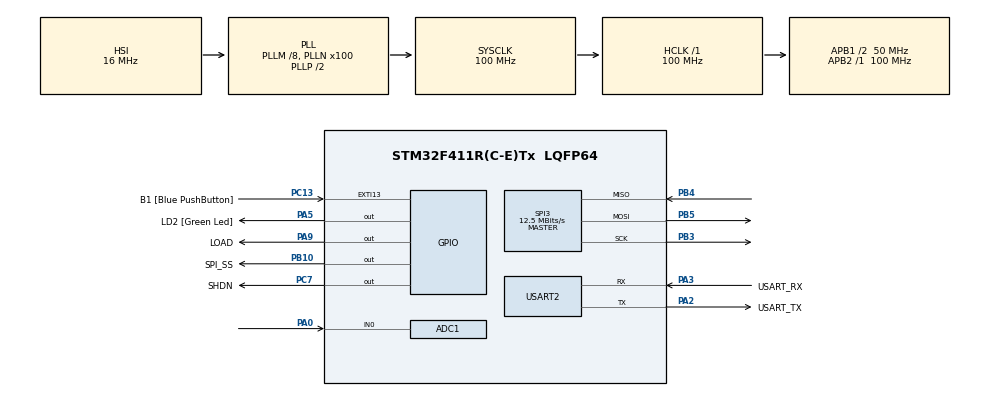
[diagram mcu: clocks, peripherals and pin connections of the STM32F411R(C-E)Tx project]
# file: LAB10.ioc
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Mcu.Family=STM32F4
PB10.PinState=GPIO_PIN_SET
VP_TIM5_VS_ClockSourceINT.Mode=Internal
RCC.CortexFreq_Value=100000000
SPI3.Direction=SPI_DIRECTION_2LINES
SPI3.VirtualType=VM_MASTER
ADC1.ContinuousConvMode=DISABLE
PA14.GPIO_Label=TCK
RCC.SYSCLKSource=RCC_SYSCLKSOURCE_PLLCLK
ProjectManager.StackSize=0x400
NVIC.ADC_IRQn=true\:0\:0\:false\:false\:true\:true\:true
PH0\ -\ OSC_IN.Signal=RCC_OSC_IN
NVIC.TIM5_IRQn=true\:0\:0\:false\:false\:true\:true\:true
RCC.HCLKFreq_Value=100000000
RCC.APB2TimFreq_Value=100000000
TIM3.Period=100
Dma.ADC1.0.Direction=DMA_PERIPH_TO_MEMORY
PC7.Signal=GPIO_Output
NVIC.DMA2_Stream0_IRQn=true\:0\:0\:false\:false\:true\:false\:true
Dma.ADC1.0.MemDataAlignment=DMA_MDATAALIGN_HALFWORD
RCC.AHBFreq_Value=100000000
SPI3.DataSize=SPI_DATASIZE_16BIT
ADC1.Channel-0\#ChannelRegularConversion=ADC_CHANNEL_0
RCC.HSE_VALUE=8000000
PB3.Mode=Full_Duplex_Master
ADC1.ScanConvMode=ENABLE
PC13-ANTI_TAMP.Signal=GPXTI13
PB4.Mode=Full_Duplex_Master
PC14-OSC32_IN.Mode=LSE-External-Oscillator
PA14.Mode=Serial_Wire
TIM3.Prescaler=99
Dma.ADC1.0.PeriphInc=DMA_PINC_DISABLE
PB5.Mode=Full_Duplex_Master
PC7.PinState=GPIO_PIN_SET
SH.ADCx_IN0.0=ADC1_IN0,IN0
ADC1.SamplingTime-0\#ChannelRegularConversion=ADC_SAMPLETIME_3CYCLES
RCC.FLatency-AdvancedSettings=FLASH_LATENCY_3
Mcu.Package=LQFP64
SPI3.Mode=SPI_MODE_MASTER
USART2.VirtualMode=VM_ASYNC
PA2.GPIO_Label=USART_TX
NVIC.SPI3_IRQn=true\:0\:0\:false\:false\:true\:true\:true
RCC.APB1TimFreq_Value=100000000
Dma.ADC1.0.FIFOMode=DMA_FIFOMODE_DISABLE
Dma.Request0=ADC1
ADC1.EOCSelection=ADC_EOC_SEQ_CONV
VP_TIM3_VS_ClockSourceINT.Mode=Internal
PB4.Signal=SPI3_MISO
PA3.Signal=USART2_RX
PC15-OSC32_OUT.Mode=LSE-External-Oscillator
Dma.ADC1.0.Instance=DMA2_Stream0
ADC1.Rank-0\#ChannelRegularConversion=1
PC13-ANTI_TAMP.GPIO_Label=B1 [Blue PushButton]
PA9.GPIO_Label=LOAD
PH1\ -\ OSC_OUT.Mode=HSE-External-Clock-Source
ADC1.DiscontinuousConvMode=DISABLE
RCC.APB1CLKDivider=RCC_HCLK_DIV2
PC14-OSC32_IN.Signal=RCC_OSC32_IN
NVIC.USART2_IRQn=true\:0\:0\:false\:false\:true\:true\:true
PA0-WKUP.Signal=ADCx_IN0
PA13.Signal=SYS_JTMS-SWDIO
PA3.Mode=Asynchronous
Dma.ADC1.0.PeriphDataAlignment=DMA_PDATAALIGN_HALFWORD
PH0\ -\ OSC_IN.Mode=HSE-External-Clock-Source
ProjectManager.TargetToolchain=STM32CubeIDE
PB10.GPIO_Label=SPI_SS
Dma.ADC1.0.Mode=DMA_CIRCULAR
Dma.ADC1.0.Priority=DMA_PRIORITY_LOW
PA9.Signal=GPIO_Output
PA9.PinState=GPIO_PIN_SET
PC15-OSC32_OUT.Signal=RCC_OSC32_OUT
PB10.Signal=GPIO_Output
PA5.Signal=GPIO_Output
PH1\ -\ OSC_OUT.Signal=RCC_OSC_OUT
board=NUCLEO-F411RE
RCC.VCOOutputFreq_Value=200000000
RCC.APB2Freq_Value=100000000
SPI3.CalculateBaudRate=12.5 MBits/s
SPI3.BaudRatePrescaler=SPI_BAUDRATEPRESCALER_4
ADC1.DMAContinuousRequests=ENABLE
PA13.Mode=Serial_Wire
Mcu.Name=STM32F411R(C-E)Tx
PA2.Signal=USART2_TX
PA13.GPIO_Label=TMS
ADC1.ExternalTrigConv=ADC_EXTERNALTRIGCONV_T3_TRGO
PC7.GPIO_Label=SHDN
RCC.48MHZClocksFreq_Value=50000000
PB3.Signal=SPI3_SCK
RCC.SYSCLKFreq_VALUE=100000000
PB5.Signal=SPI3_MOSI
ADC1.master=1
PA5.GPIO_Label=LD2 [Green Led]
TIM5.Prescaler=99
PC13-ANTI_TAMP.GPIO_ModeDefaultEXTI=GPIO_MODE_IT_FALLING
PA14.Signal=SYS_JTCK-SWCLK
Dma.ADC1.0.MemInc=DMA_MINC_ENABLE
ProjectManager.HeapSize=0x200
RCC.HSI_VALUE=16000000
NVIC.PriorityGroup=NVIC_PRIORITYGROUP_0
ADC1.NbrOfConversionFlag=1
RCC.PLLM=8
RCC.PLLN=100
PA2.Mode=Asynchronous
TIM3.TIM_MasterOutputTrigger=TIM_TRGO_UPDATE
RCC.APB1Freq_Value=50000000
PA3.GPIO_Label=USART_RX

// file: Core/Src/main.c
/* USER CODE BEGIN Header */
/**
 ******************************************************************************
 * @file           : main.c
 * @brief          : Main program body
 ******************************************************************************
 * @attention
 *
 * <h2><center>&copy; Copyright (c) 2021 STMicroelectronics.
 * All rights reserved.</center></h2>
 *
 * This software component is licensed by ST under BSD 3-Clause license,
 * the "License"; You may not use this file except in compliance with the
 * License. You may obtain a copy of the License at:
 *                        opensource.org/licenses/BSD-3-Clause
 *
 ******************************************************************************
 */
/* USER CODE END Header */
#include "main.h"

/* USER CODE BEGIN Includes */
#include <math.h>
#include <stdio.h>
#include <string.h>
/* USER CODE END Includes */

ADC_HandleTypeDef hadc1;
DMA_HandleTypeDef hdma_adc1;

SPI_HandleTypeDef hspi3;

TIM_HandleTypeDef htim3;
TIM_HandleTypeDef htim5;

UART_HandleTypeDef huart2;

/* USER CODE BEGIN PV */
typedef enum {
	START,WAIT,SELECTMODE,SELECTMODE_WAIT,SAWTOOTH,SINE_WAVE,SQUARE_WAVE,FREQUENCY_UP,FREQUENCY_DOWN
}
MODE;
char TxDataBuffer[32] =
{ 0 };
char RxDataBuffer[32] =
{ 0 };

char state = START;
char wave = SAWTOOTH;

char error[] = "Wrong Input\r\n\r\n";
int Input = 0;
int firsttime = 0;
int Working = 1;
int frequency = 50;
int duty = 50;

int LowVolt = 0;
int HighVolt = 33;

int16_t inputchar = -1;
int16_t lastinputchar = -1;

uint64_t timepass = 0;
uint64_t timestamp = 0;
uint64_t _micros = 0;

GPIO_PinState User_Button[2];

double counter = 0;
uint16_t slope = 0;

uint16_t ADCin = 0;
uint64_t _micro = 0;
uint16_t dataOut = 0;
	uint8_t DACConfig = 0b0011;
/* USER CODE END PV */

void SystemClock_Config(void);
static void MX_GPIO_Init(void);
static void MX_DMA_Init(void);
static void MX_USART2_UART_Init(void);
static void MX_SPI3_Init(void);
static void MX_ADC1_Init(void);
static void MX_TIM3_Init(void);
static void MX_TIM5_Init(void);
/* USER CODE BEGIN PFP */
int16_t UARTRecieveIT();
void MCP4922SetOutput(uint8_t Config, uint16_t DACOutput);
uint64_t micros();
/* USER CODE END PFP */

int main(void)
{

  /* MCU Configuration--------------------------------------------------------*/

  /* Reset of all peripherals, Initializes the Flash interface and the Systick. */
  HAL_Init();

  /* Configure the system clock */
  SystemClock_Config();

  /* Initialize all configured peripherals */
  MX_GPIO_Init();
  MX_DMA_Init();
  MX_USART2_UART_Init();
  MX_SPI3_Init();
  MX_ADC1_Init();
  MX_TIM3_Init();
  MX_TIM5_Init();
  /* USER CODE BEGIN 2 */
	HAL_TIM_Base_Start(&htim3);
	HAL_TIM_Base_Start_IT(&htim5);
	HAL_ADC_Start_DMA(&hadc1, (uint32_t*) &ADCin, 1);

	HAL_GPIO_WritePin(LOAD_GPIO_Port, LOAD_Pin, GPIO_PIN_RESET);
	{
		char temp[]="NOW LOADING... \r\nLAB10 is now operating \r\n\r\n";
		HAL_UART_Transmit(&huart2, (uint8_t*)temp, strlen(temp),1000);
	}
  /* USER CODE END 2 */

  /* Infinite loop */
  /* USER CODE BEGIN WHILE */
	while (1)
	{
		static uint64_t timestamp = 0;
		if (micros() - timestamp >= 100) //100
		{
			timepass = micros() - timestamp;
			timestamp = micros();
			if(timepass > 0 && timepass < 1000)
			{
				counter += (timepass/100.0)*(frequency/10.0)*(4096.0/10000.0);
			}

			if(counter > 4096.0)
			{
				counter += -4096.0;
			}
			switch(wave)
			{
				case SAWTOOTH:
				{
					if(slope)
					{
						dataOut = (LowVolt + (counter*(HighVolt-LowVolt)/4096.0))*4096.0/33.0;
					}
					else
					{
						dataOut = (HighVolt - (counter*(HighVolt-LowVolt)/4096.0))*4096.0/33.0;
					}
				}
				break;
				case SINE_WAVE:
				{
					dataOut = ((HighVolt - LowVolt)*4096.0/66.0)*(sin(2*M_PI*counter/4096.0)+1.0) + (LowVolt*4096.0/33.0);
				}
				break;
				case SQUARE_WAVE:
				{
					if(duty*4096.0/100.0 >= counter)
					{
						dataOut = HighVolt*4096.0/33.0;
						if(HighVolt == 33)
						{
							dataOut = 4095;
						}
					}
					else
					{
						dataOut = LowVolt*4096.0/33.0;
					}
				}
				break;
			}
			if (hspi3.State == HAL_SPI_STATE_READY
					&& HAL_GPIO_ReadPin(SPI_SS_GPIO_Port, SPI_SS_Pin)
							== GPIO_PIN_SET)
			{
				MCP4922SetOutput(DACConfig, dataOut);
			}
		}

		char Frequencyline[] = "Frequency is";
		char Dutyline[] = "Duty is";
		char HighVoltline[] = "High Volt is";
		char LowVoltline[] = "Low Volt is";
		HAL_UART_Receive_IT(&huart2,  (uint8_t*)RxDataBuffer, 32);

		int16_t inputchar = UARTRecieveIT();
		if(inputchar!= -1)
		{
			//sprintf(TxDataBuffer, "ReceivedChar:[%c]\r\n\r\n", inputchar);
			HAL_UART_Transmit(&huart2, (uint8_t*)TxDataBuffer, strlen(TxDataBuffer), 1000);
			Input = 1;
		}
		else
		{
			Input = 0;
		}

		switch(state)
		{
			case START: //0 start
			{
				char temp[] = " 1. Select Mode \r\n 2. Increase Frequency \r\n 3. Decrease Frequency \r\n 4. Increase High Volt \r\n 5. Decrease High Volt \r\n 6. Increase Low Volt \r\n 7. Decrease Low Volt \r\n\r\n";
				HAL_UART_Transmit(&huart2, (uint8_t*)temp, strlen(temp),1000);
				state = WAIT;
			}
			break;
			case WAIT:
			{
				switch(inputchar)
				{
					case '1':
					{
						state = SELECTMODE;
					}
					break;
					case '2':
					{
						if(frequency < 100)
						{
							frequency += 1;
						}
						sprintf(Frequencyline, "Frequency is [%d]/10 Hz\r\n\r\n", frequency);
						HAL_UART_Transmit(&huart2, (uint8_t*)Frequencyline, strlen(Frequencyline),1000);
						state = START;
					}
					break;
					case '3':
					{
						if(frequency > 0)
						{
							frequency += -1;
						}
						sprintf(Frequencyline, "Frequency is [%d]/10 Hz\r\n\r\n", frequency);
						HAL_UART_Transmit(&huart2, (uint8_t*)Frequencyline, strlen(Frequencyline),1000);
						state = START;
					}
					break;
					case '4':
					{
						if(HighVolt < 33)
						{
							HighVolt += 1;
						}
						sprintf(HighVoltline, "High Volt is [%d]/10 V\r\n\r\n", HighVolt);
						HAL_UART_Transmit(&huart2, (uint8_t*)HighVoltline, strlen(HighVoltline),1000);
						state = START;
					}
					break;
					case '5':
					{
						if(HighVolt > LowVolt)
						{
							HighVolt += -1;
						}
						sprintf(HighVoltline, "High Volt is [%d]/10 V\r\n\r\n", HighVolt);
						HAL_UART_Transmit(&huart2, (uint8_t*)HighVoltline, strlen(HighVoltline),1000);
						state = START;
					}
					break;
					case '6':
					{
						if(LowVolt < 33 && LowVolt < HighVolt)
						{
							LowVolt += 1;
						}
						sprintf(LowVoltline, "Low Volt is [%d]/10 V\r\n\r\n", LowVolt);
						HAL_UART_Transmit(&huart2, (uint8_t*)LowVoltline, strlen(LowVoltline),1000);
						state = START;
					}
					break;
					case '7':
					{
						if(LowVolt > 0)
						{
							LowVolt += -1;
						}
						sprintf(LowVoltline, "Low Volt is [%d]/10 V\r\n\r\n", LowVolt);
						HAL_UART_Transmit(&huart2, (uint8_t*)LowVoltline, strlen(LowVoltline),1000);
						state = START;
					}
					break;
					default:
					{
						if(Input != 0)
						{
							state = START;
							HAL_UART_Transmit(&huart2, (uint8_t*)error, strlen(error),1000);
						}
					}
				}
			}
			break;
			case SELECTMODE:
			{
				char temp[] = " 1. Sawtooth up \r\n 2. Sawtooth down \r\n 3. Sine Wave \r\n 4. Square Wave \r\n 5. increase duty cycle \r\n 6. decrease duty cycle \r\n 7. Back \r\n\r\n";
				HAL_UART_Transmit(&huart2, (uint8_t*)temp, strlen(temp),1000);
				state = SELECTMODE_WAIT;
			}
			break;
			case SELECTMODE_WAIT:
			{
				switch(inputchar)
				{
					case '1':
					{
						wave = SAWTOOTH;
						slope = 1;
						char temp[] = "SAWTOOTH up is now selected \r\n\r\n";
						HAL_UART_Transmit(&huart2, (uint8_t*)temp, strlen(temp),1000);
						state = SELECTMODE;
					}
					break;
					case '2':
					{
						wave = SAWTOOTH;
						slope = 0;
						char temp[] = "SAWTOOTH down is now selected \r\n\r\n";
						HAL_UART_Transmit(&huart2, (uint8_t*)temp, strlen(temp),1000);
						state = SELECTMODE;
					}
					break;
					case '3':
					{
						wave = SINE_WAVE;
						char temp[] = "Sine wave is now selected \r\n\r\n";
						HAL_UART_Transmit(&huart2, (uint8_t*)temp, strlen(temp),1000);
						state = SELECTMODE;
					}
					break;
					case '4':
					{
						wave = SQUARE_WAVE;
						char temp[] = "Square wave is now selected \r\n\r\n";
						HAL_UART_Transmit(&huart2, (uint8_t*)temp, strlen(temp),1000);
						state = SELECTMODE;
					}
					break;
					case '5':
					{
						if(duty < 100)
						{
							duty += 1;
						}
						sprintf(Dutyline, "Duty is [%d] percent\r\n\r\n", duty);
						HAL_UART_Transmit(&huart2, (uint8_t*)Dutyline, strlen(Dutyline),1000);
						state = SELECTMODE;
					}
					break;
					case '6':
					{
						if(duty > 0)
						{
							duty += -1;
						}
						sprintf(Dutyline, "Duty is [%d] percent\r\n\r\n", duty);
						HAL_UART_Transmit(&huart2, (uint8_t*)Dutyline, strlen(Dutyline),1000);
						state = SELECTMODE;
					}
					break;
					case '7':
					{
						state = START;
					}
					break;
					default:
					{
						if(Input != 0)
						{
							state = SELECTMODE;
							HAL_UART_Transmit(&huart2, (uint8_t*)error, strlen(error),1000);
						}
					}
					break;
				}
			}
			break;
//			default:
//			{
//				state = START;
//				HAL_UART_Transmit(&huart2, (uint8_t*)error, strlen(error),1000);
//			}
//			break;
		}

			  		/*This section just simmulate Work Load*/
			  //HAL_Delay(100);
			  //HAL_GPIO_TogglePin(LD2_GPIO_Port, LD2_Pin);
    /* USER CODE END WHILE */

	}
}

void SystemClock_Config(void)
{
  RCC_OscInitTypeDef RCC_OscInitStruct = {0};
  RCC_ClkInitTypeDef RCC_ClkInitStruct = {0};

  /** Configure the main internal regulator output voltage
  */
  __HAL_RCC_PWR_CLK_ENABLE();
  __HAL_PWR_VOLTAGESCALING_CONFIG(PWR_REGULATOR_VOLTAGE_SCALE1);
  /** Initializes the RCC Oscillators according to the specified parameters
  * in the RCC_OscInitTypeDef structure.
  */
  RCC_OscInitStruct.OscillatorType = RCC_OSCILLATORTYPE_HSI;
  RCC_OscInitStruct.HSIState = RCC_HSI_ON;
  RCC_OscInitStruct.HSICalibrationValue = RCC_HSICALIBRATION_DEFAULT;
  RCC_OscInitStruct.PLL.PLLState = RCC_PLL_ON;
  RCC_OscInitStruct.PLL.PLLSource = RCC_PLLSOURCE_HSI;
  RCC_OscInitStruct.PLL.PLLM = 8;
  RCC_OscInitStruct.PLL.PLLN = 100;
  RCC_OscInitStruct.PLL.PLLP = RCC_PLLP_DIV2;
  RCC_OscInitStruct.PLL.PLLQ = 4;
  if (HAL_RCC_OscConfig(&RCC_OscInitStruct) != HAL_OK)
  {
    Error_Handler();
  }
  /** Initializes the CPU, AHB and APB buses clocks
  */
  RCC_ClkInitStruct.ClockType = RCC_CLOCKTYPE_HCLK|RCC_CLOCKTYPE_SYSCLK
                              |RCC_CLOCKTYPE_PCLK1|RCC_CLOCKTYPE_PCLK2;
  RCC_ClkInitStruct.SYSCLKSource = RCC_SYSCLKSOURCE_PLLCLK;
  RCC_ClkInitStruct.AHBCLKDivider = RCC_SYSCLK_DIV1;
  RCC_ClkInitStruct.APB1CLKDivider = RCC_HCLK_DIV2;
  RCC_ClkInitStruct.APB2CLKDivider = RCC_HCLK_DIV1;

  if (HAL_RCC_ClockConfig(&RCC_ClkInitStruct, FLASH_LATENCY_3) != HAL_OK)
  {
    Error_Handler();
  }
}

static void MX_ADC1_Init(void)
{

  ADC_ChannelConfTypeDef sConfig = {0};

  /** Configure the global features of the ADC (Clock, Resolution, Data Alignment and number of conversion)
  */
  hadc1.Instance = ADC1;
  hadc1.Init.ClockPrescaler = ADC_CLOCK_SYNC_PCLK_DIV4;
  hadc1.Init.Resolution = ADC_RESOLUTION_12B;
  hadc1.Init.ScanConvMode = ENABLE;
  hadc1.Init.ContinuousConvMode = DISABLE;
  hadc1.Init.DiscontinuousConvMode = DISABLE;
  hadc1.Init.ExternalTrigConvEdge = ADC_EXTERNALTRIGCONVEDGE_RISING;
  hadc1.Init.ExternalTrigConv = ADC_EXTERNALTRIGCONV_T3_TRGO;
  hadc1.Init.DataAlign = ADC_DATAALIGN_RIGHT;
  hadc1.Init.NbrOfConversion = 1;
  hadc1.Init.DMAContinuousRequests = ENABLE;
  hadc1.Init.EOCSelection = ADC_EOC_SEQ_CONV;
  if (HAL_ADC_Init(&hadc1) != HAL_OK)
  {
    Error_Handler();
  }
  /** Configure for the selected ADC regular channel its corresponding rank in the sequencer and its sample time.
  */
  sConfig.Channel = ADC_CHANNEL_0;
  sConfig.Rank = 1;
  sConfig.SamplingTime = ADC_SAMPLETIME_3CYCLES;
  if (HAL_ADC_ConfigChannel(&hadc1, &sConfig) != HAL_OK)
  {
    Error_Handler();
  }

}

static void MX_SPI3_Init(void)
{

  /* SPI3 parameter configuration*/
  hspi3.Instance = SPI3;
  hspi3.Init.Mode = SPI_MODE_MASTER;
  hspi3.Init.Direction = SPI_DIRECTION_2LINES;
  hspi3.Init.DataSize = SPI_DATASIZE_16BIT;
  hspi3.Init.CLKPolarity = SPI_POLARITY_LOW;
  hspi3.Init.CLKPhase = SPI_PHASE_1EDGE;
  hspi3.Init.NSS = SPI_NSS_SOFT;
  hspi3.Init.BaudRatePrescaler = SPI_BAUDRATEPRESCALER_4;
  hspi3.Init.FirstBit = SPI_FIRSTBIT_MSB;
  hspi3.Init.TIMode = SPI_TIMODE_DISABLE;
  hspi3.Init.CRCCalculation = SPI_CRCCALCULATION_DISABLE;
  hspi3.Init.CRCPolynomial = 10;
  if (HAL_SPI_Init(&hspi3) != HAL_OK)
  {
    Error_Handler();
  }

}

static void MX_TIM3_Init(void)
{

  TIM_ClockConfigTypeDef sClockSourceConfig = {0};
  TIM_MasterConfigTypeDef sMasterConfig = {0};

  htim3.Instance = TIM3;
  htim3.Init.Prescaler = 99;
  htim3.Init.CounterMode = TIM_COUNTERMODE_UP;
  htim3.Init.Period = 100;
  htim3.Init.ClockDivision = TIM_CLOCKDIVISION_DIV1;
  htim3.Init.AutoReloadPreload = TIM_AUTORELOAD_PRELOAD_DISABLE;
  if (HAL_TIM_Base_Init(&htim3) != HAL_OK)
  {
    Error_Handler();
  }
  sClockSourceConfig.ClockSource = TIM_CLOCKSOURCE_INTERNAL;
  if (HAL_TIM_ConfigClockSource(&htim3, &sClockSourceConfig) != HAL_OK)
  {
    Error_Handler();
  }
  sMasterConfig.MasterOutputTrigger = TIM_TRGO_UPDATE;
  sMasterConfig.MasterSlaveMode = TIM_MASTERSLAVEMODE_DISABLE;
  if (HAL_TIMEx_MasterConfigSynchronization(&htim3, &sMasterConfig) != HAL_OK)
  {
    Error_Handler();
  }

}

static void MX_TIM5_Init(void)
{

  TIM_ClockConfigTypeDef sClockSourceConfig = {0};
  TIM_MasterConfigTypeDef sMasterConfig = {0};

  htim5.Instance = TIM5;
  htim5.Init.Prescaler = 99;
  htim5.Init.CounterMode = TIM_COUNTERMODE_UP;
  htim5.Init.Period = 4294967295;
  htim5.Init.ClockDivision = TIM_CLOCKDIVISION_DIV1;
  htim5.Init.AutoReloadPreload = TIM_AUTORELOAD_PRELOAD_DISABLE;
  if (HAL_TIM_Base_Init(&htim5) != HAL_OK)
  {
    Error_Handler();
  }
  sClockSourceConfig.ClockSource = TIM_CLOCKSOURCE_INTERNAL;
  if (HAL_TIM_ConfigClockSource(&htim5, &sClockSourceConfig) != HAL_OK)
  {
    Error_Handler();
  }
  sMasterConfig.MasterOutputTrigger = TIM_TRGO_RESET;
  sMasterConfig.MasterSlaveMode = TIM_MASTERSLAVEMODE_DISABLE;
  if (HAL_TIMEx_MasterConfigSynchronization(&htim5, &sMasterConfig) != HAL_OK)
  {
    Error_Handler();
  }

}

static void MX_USART2_UART_Init(void)
{

  huart2.Instance = USART2;
  huart2.Init.BaudRate = 115200;
  huart2.Init.WordLength = UART_WORDLENGTH_8B;
  huart2.Init.StopBits = UART_STOPBITS_1;
  huart2.Init.Parity = UART_PARITY_NONE;
  huart2.Init.Mode = UART_MODE_TX_RX;
  huart2.Init.HwFlowCtl = UART_HWCONTROL_NONE;
  huart2.Init.OverSampling = UART_OVERSAMPLING_16;
  if (HAL_UART_Init(&huart2) != HAL_OK)
  {
    Error_Handler();
  }

}

static void MX_DMA_Init(void)
{

  /* DMA controller clock enable */
  __HAL_RCC_DMA2_CLK_ENABLE();

  /* DMA interrupt init */
  /* DMA2_Stream0_IRQn interrupt configuration */
  HAL_NVIC_SetPriority(DMA2_Stream0_IRQn, 0, 0);
  HAL_NVIC_EnableIRQ(DMA2_Stream0_IRQn);

}

static void MX_GPIO_Init(void)
{
  GPIO_InitTypeDef GPIO_InitStruct = {0};

  /* GPIO Ports Clock Enable */
  __HAL_RCC_GPIOC_CLK_ENABLE();
  __HAL_RCC_GPIOH_CLK_ENABLE();
  __HAL_RCC_GPIOA_CLK_ENABLE();
  __HAL_RCC_GPIOB_CLK_ENABLE();

  /*Configure GPIO pin Output Level */
  HAL_GPIO_WritePin(LD2_GPIO_Port, LD2_Pin, GPIO_PIN_RESET);

  /*Configure GPIO pin Output Level */
  HAL_GPIO_WritePin(SPI_SS_GPIO_Port, SPI_SS_Pin, GPIO_PIN_SET);

  /*Configure GPIO pin Output Level */
  HAL_GPIO_WritePin(SHDN_GPIO_Port, SHDN_Pin, GPIO_PIN_SET);

  /*Configure GPIO pin Output Level */
  HAL_GPIO_WritePin(LOAD_GPIO_Port, LOAD_Pin, GPIO_PIN_SET);

  /*Configure GPIO pin : B1_Pin */
  GPIO_InitStruct.Pin = B1_Pin;
  GPIO_InitStruct.Mode = GPIO_MODE_IT_FALLING;
  GPIO_InitStruct.Pull = GPIO_NOPULL;
  HAL_GPIO_Init(B1_GPIO_Port, &GPIO_InitStruct);

  /*Configure GPIO pins : LD2_Pin LOAD_Pin */
  GPIO_InitStruct.Pin = LD2_Pin|LOAD_Pin;
  GPIO_InitStruct.Mode = GPIO_MODE_OUTPUT_PP;
  GPIO_InitStruct.Pull = GPIO_NOPULL;
  GPIO_InitStruct.Speed = GPIO_SPEED_FREQ_LOW;
  HAL_GPIO_Init(GPIOA, &GPIO_InitStruct);

  /*Configure GPIO pin : SPI_SS_Pin */
  GPIO_InitStruct.Pin = SPI_SS_Pin;
  GPIO_InitStruct.Mode = GPIO_MODE_OUTPUT_PP;
  GPIO_InitStruct.Pull = GPIO_NOPULL;
  GPIO_InitStruct.Speed = GPIO_SPEED_FREQ_LOW;
  HAL_GPIO_Init(SPI_SS_GPIO_Port, &GPIO_InitStruct);

  /*Configure GPIO pin : SHDN_Pin */
  GPIO_InitStruct.Pin = SHDN_Pin;
  GPIO_InitStruct.Mode = GPIO_MODE_OUTPUT_PP;
  GPIO_InitStruct.Pull = GPIO_NOPULL;
  GPIO_InitStruct.Speed = GPIO_SPEED_FREQ_LOW;
  HAL_GPIO_Init(SHDN_GPIO_Port, &GPIO_InitStruct);

}

/* USER CODE BEGIN 4 */
void MCP4922SetOutput(uint8_t Config, uint16_t DACOutput)
{
	uint32_t OutputPacket = (DACOutput & 0x0fff) | ((Config & 0xf) << 12);
	HAL_GPIO_WritePin(SPI_SS_GPIO_Port, SPI_SS_Pin, GPIO_PIN_RESET);
	HAL_SPI_Transmit_IT(&hspi3, &OutputPacket, 1);
}

void HAL_SPI_TxCpltCallback(SPI_HandleTypeDef *hspi)
{
	if (hspi == &hspi3)
	{
		HAL_GPIO_WritePin(SPI_SS_GPIO_Port, SPI_SS_Pin, GPIO_PIN_SET);
	}
}

void HAL_TIM_PeriodElapsedCallback(TIM_HandleTypeDef *htim)
{
	if (htim == &htim5)
	{
		_micro += 65535;
	}
}

inline uint64_t micros()
{
	return htim5.Instance->CNT + _micro;
}

int16_t UARTRecieveIT()
{
	static uint32_t dataPos =0;
	int16_t data=-1;
	if(huart2.RxXferSize - huart2.RxXferCount!=dataPos)
	{
		data = RxDataBuffer[dataPos];
		dataPos= (dataPos+1)%huart2.RxXferSize;
	}
	return data;
}

void HAL_UART_RxCpltCallback(UART_HandleTypeDef *huart)
{
	//sprintf(TxDataBuffer, "Received:[%s]\r\n", RxDataBuffer);
	HAL_UART_Transmit(&huart2, (uint8_t*)TxDataBuffer, strlen(TxDataBuffer), 1000);
}
/* USER CODE END 4 */

void Error_Handler(void)
{
	__disable_irq();
	while (1)
	{
	}
}

/************************ (C) COPYRIGHT STMicroelectronics *****END OF FILE****/
